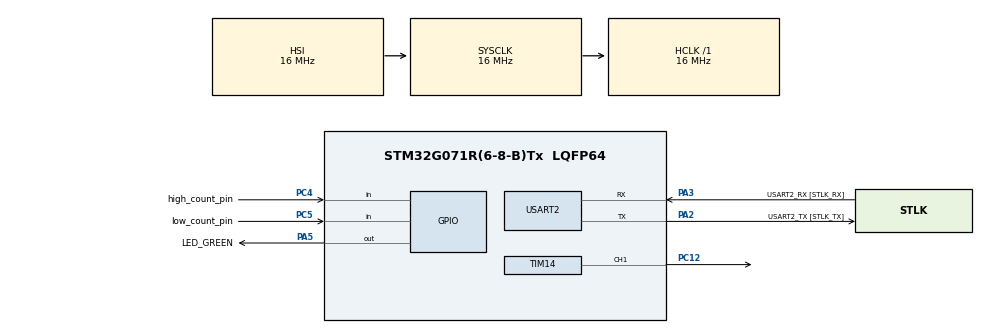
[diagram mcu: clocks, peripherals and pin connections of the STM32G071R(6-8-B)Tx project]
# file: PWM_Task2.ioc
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Mcu.Family=STM32G0
Mcu.Name=STM32G071R(6-8-B)Tx
Mcu.Package=LQFP64
NVIC.TIM14_IRQn=true\:0\:0\:false\:false\:true\:true\:true
PA13.GPIO_Label=TMS
PA13.Signal=SYS_SWDIO
PA14-BOOT0.GPIO_Label=TCK
PA14-BOOT0.Signal=SYS_SWCLK
PA2.GPIO_Label=USART2_TX [STLK_TX]
PA2.Mode=Asynchronous
PA2.Signal=USART2_TX
PA3.GPIO_Label=USART2_RX [STLK_RX]
PA3.Mode=Asynchronous
PA3.Signal=USART2_RX
PA5.GPIO_Label=LED_GREEN
PA5.GPIO_Speed=GPIO_SPEED_FREQ_HIGH
PA5.Signal=GPIO_Output
PC12.GPIO_Speed=GPIO_SPEED_FREQ_HIGH
PC12.Signal=S_TIM14_CH1
PC13.Signal=SYS_WKUP2
PC14-OSC32_IN\ (PC14).Signal=RCC_OSC32_IN
PC15-OSC32_OUT\ (PC15).Signal=RCC_OSC32_OUT
PC4.GPIO_Label=high_count_pin
PC4.Signal=GPIO_Input
PC5.GPIO_Label=low_count_pin
PC5.Signal=GPIO_Input
PF0-OSC_IN\ (PF0).GPIO_Label=MCO
PF0-OSC_IN\ (PF0).Signal=RCC_OSC_IN
ProjectManager.HeapSize=0x200
ProjectManager.StackSize=0x400
ProjectManager.TargetToolchain=STM32CubeIDE
RCC.AHBFreq_Value=16000000
RCC.CortexFreq_Value=16000000
RCC.EXTERNAL_CLOCK_VALUE=12288000
RCC.HCLKFreq_Value=16000000
RCC.HSE_VALUE=8000000
RCC.HSI_VALUE=16000000
RCC.LSE_VALUE=32768
RCC.SYSCLKFreq_VALUE=16000000
RCC.VCOOutputFreq_Value=128000000
SH.S_TIM14_CH1.0=TIM14_CH1,PWM Generation1 CH1
TIM14.AutoReloadPreload=TIM_AUTORELOAD_PRELOAD_DISABLE
TIM14.Channel=TIM_CHANNEL_1
TIM14.ClockDivision=TIM_CLOCKDIVISION_DIV1
TIM14.OC1Preload_PWM=DISABLE
TIM14.OCMode_PWM=TIM_OCMODE_PWM1
TIM14.Period=999
TIM14.Prescaler=15999
TIM14.Pulse=99
USART2.VirtualMode-Asynchronous=VM_ASYNC
VP_SYS_VS_DBSignals.Mode=DisableDeadBatterySignals
VP_TIM14_VS_ClockSourceINT.Mode=Enable_Timer
board=NUCLEO-G071RB

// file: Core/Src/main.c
/* USER CODE BEGIN Header */
/**
  ******************************************************************************
  * @file           : main.c
  * @brief          : Main program body
  ******************************************************************************
  * @attention
  *
  * <h2><center>&copy; Copyright (c) 2023 STMicroelectronics.
  * All rights reserved.</center></h2>
  *
  * This software component is licensed by ST under BSD 3-Clause license,
  * the "License"; You may not use this file except in compliance with the
  * License. You may obtain a copy of the License at:
  *                        opensource.org/licenses/BSD-3-Clause
  *
  ******************************************************************************
  */
/* USER CODE END Header */
#include "main.h"

/* USER CODE BEGIN Includes */
#include <string.h>
#include <stdio.h>
/* USER CODE END Includes */

TIM_HandleTypeDef htim14;

UART_HandleTypeDef huart2;

/* USER CODE BEGIN PV */
char msg[10];
char msg1[10];
char msg2[10];
int count1=0;
int count2=1;
//int input2;
//int input1;
int time=0;
int input=0;
/* USER CODE END PV */

void SystemClock_Config(void);
static void MX_GPIO_Init(void);
static void MX_TIM14_Init(void);
static void MX_USART2_UART_Init(void);

int main(void)
{

  /* MCU Configuration--------------------------------------------------------*/

  /* Reset of all peripherals, Initializes the Flash interface and the Systick. */
  HAL_Init();

  /* Configure the system clock */
  SystemClock_Config();

  /* Initialize all configured peripherals */
  MX_GPIO_Init();
  MX_TIM14_Init();
  MX_USART2_UART_Init();
  /* USER CODE BEGIN 2 */
  //HAL_GPIO_WritePin(GPIOA, High_count_pin_Pin, 0);
  HAL_GPIO_WritePin(LED_GREEN_GPIO_Port,LED_GREEN_Pin, 1);
  HAL_TIM_PWM_Start_IT(&htim14, TIM_CHANNEL_1);
  //void HAL_TIM_PeriodElapsedCallback(TIM_HandleTypeDef *htim14)

  sprintf(msg2,"count1=%d  count1 = %d\r\n",count1,count2);
  HAL_UART_Transmit(&huart2, (uint8_t*)msg2, strlen(msg2), HAL_MAX_DELAY);

  //HAL_TIM_PWM_Start(&htim14, TIM_CHANNEL_1);
  /* USER CODE END 2 */

  /* Infinite loop */
  /* USER CODE BEGIN WHILE */
  while (1)
  {

	  input = HAL_GPIO_ReadPin(low_count_pin_GPIO_Port, low_count_pin_Pin);
//	  sprintf(msg,"input=%d ",input);
//	  HAL_UART_Transmit(&huart2, (uint8_t*)msg, strlen(msg), HAL_MAX_DELAY);

	  sprintf(msg2,"count1=%d  count1 = %d\r\n",count1,count2);
	  HAL_UART_Transmit(&huart2, (uint8_t*)msg2, strlen(msg2), HAL_MAX_DELAY);

	  if(__HAL_TIM_GET_COUNTER(&htim14)==0)
	  {
		  count2=0;
		  count1=0;
	  }

	  if(input==1)
	  {
		  count1++;
	  }
	  if(input==0)
	  {
		  count2++;
	  }

//	  input1 = HAL_GPIO_ReadPin(high_count_pin_GPIO_Port, high_count_pin_Pin);
//	  sprintf(msg1,"input1=%d ",input1);
//	  HAL_UART_Transmit(&huart2, (uint8_t*)msg1, strlen(msg1), HAL_MAX_DELAY);
//
//	  input2 = HAL_GPIO_ReadPin(low_count_pin_GPIO_Port, low_count_pin_Pin);
//	  sprintf(msg2,"input2=%d \r\n",input2);
//	  HAL_UART_Transmit(&huart2, (uint8_t*)msg2, strlen(msg2), HAL_MAX_DELAY);

//		if(input1==1)
//		{
//			count1++;
//			sprintf(msg1,"count1=%d ",count1);
//			HAL_UART_Transmit(&huart2, (uint8_t*)msg1, strlen(msg1), HAL_MAX_DELAY);
//		}
//
//		if(input2==0)
//		{
//			count2++;
//			sprintf(msg2,"count2=%d\r\n",count2);
//			HAL_UART_Transmit(&huart2, (uint8_t*)msg2, strlen(msg2), HAL_MAX_DELAY);
//		}

    /* USER CODE END WHILE */

  }
}

void SystemClock_Config(void)
{
  RCC_OscInitTypeDef RCC_OscInitStruct = {0};
  RCC_ClkInitTypeDef RCC_ClkInitStruct = {0};
  RCC_PeriphCLKInitTypeDef PeriphClkInit = {0};

  /** Configure the main internal regulator output voltage
  */
  HAL_PWREx_ControlVoltageScaling(PWR_REGULATOR_VOLTAGE_SCALE1);
  /** Initializes the RCC Oscillators according to the specified parameters
  * in the RCC_OscInitTypeDef structure.
  */
  RCC_OscInitStruct.OscillatorType = RCC_OSCILLATORTYPE_HSI;
  RCC_OscInitStruct.HSIState = RCC_HSI_ON;
  RCC_OscInitStruct.HSIDiv = RCC_HSI_DIV1;
  RCC_OscInitStruct.HSICalibrationValue = RCC_HSICALIBRATION_DEFAULT;
  RCC_OscInitStruct.PLL.PLLState = RCC_PLL_NONE;
  if (HAL_RCC_OscConfig(&RCC_OscInitStruct) != HAL_OK)
  {
    Error_Handler();
  }
  /** Initializes the CPU, AHB and APB buses clocks
  */
  RCC_ClkInitStruct.ClockType = RCC_CLOCKTYPE_HCLK|RCC_CLOCKTYPE_SYSCLK
                              |RCC_CLOCKTYPE_PCLK1;
  RCC_ClkInitStruct.SYSCLKSource = RCC_SYSCLKSOURCE_HSI;
  RCC_ClkInitStruct.AHBCLKDivider = RCC_SYSCLK_DIV1;
  RCC_ClkInitStruct.APB1CLKDivider = RCC_HCLK_DIV1;

  if (HAL_RCC_ClockConfig(&RCC_ClkInitStruct, FLASH_LATENCY_0) != HAL_OK)
  {
    Error_Handler();
  }
  /** Initializes the peripherals clocks
  */
  PeriphClkInit.PeriphClockSelection = RCC_PERIPHCLK_USART2;
  PeriphClkInit.Usart2ClockSelection = RCC_USART2CLKSOURCE_PCLK1;
  if (HAL_RCCEx_PeriphCLKConfig(&PeriphClkInit) != HAL_OK)
  {
    Error_Handler();
  }
}

static void MX_TIM14_Init(void)
{

  TIM_OC_InitTypeDef sConfigOC = {0};

  htim14.Instance = TIM14;
  htim14.Init.Prescaler = 15999;
  htim14.Init.CounterMode = TIM_COUNTERMODE_UP;
  htim14.Init.Period = 999;
  htim14.Init.ClockDivision = TIM_CLOCKDIVISION_DIV1;
  htim14.Init.AutoReloadPreload = TIM_AUTORELOAD_PRELOAD_DISABLE;
  if (HAL_TIM_Base_Init(&htim14) != HAL_OK)
  {
    Error_Handler();
  }
  if (HAL_TIM_PWM_Init(&htim14) != HAL_OK)
  {
    Error_Handler();
  }
  sConfigOC.OCMode = TIM_OCMODE_PWM1;
  sConfigOC.Pulse = 99;
  sConfigOC.OCPolarity = TIM_OCPOLARITY_HIGH;
  sConfigOC.OCFastMode = TIM_OCFAST_DISABLE;
  if (HAL_TIM_PWM_ConfigChannel(&htim14, &sConfigOC, TIM_CHANNEL_1) != HAL_OK)
  {
    Error_Handler();
  }
  __HAL_TIM_DISABLE_OCxPRELOAD(&htim14, TIM_CHANNEL_1);
  HAL_TIM_MspPostInit(&htim14);

}

static void MX_USART2_UART_Init(void)
{

  huart2.Instance = USART2;
  huart2.Init.BaudRate = 115200;
  huart2.Init.WordLength = UART_WORDLENGTH_8B;
  huart2.Init.StopBits = UART_STOPBITS_1;
  huart2.Init.Parity = UART_PARITY_NONE;
  huart2.Init.Mode = UART_MODE_TX_RX;
  huart2.Init.HwFlowCtl = UART_HWCONTROL_NONE;
  huart2.Init.OverSampling = UART_OVERSAMPLING_16;
  huart2.Init.OneBitSampling = UART_ONE_BIT_SAMPLE_DISABLE;
  huart2.Init.ClockPrescaler = UART_PRESCALER_DIV1;
  huart2.AdvancedInit.AdvFeatureInit = UART_ADVFEATURE_NO_INIT;
  if (HAL_UART_Init(&huart2) != HAL_OK)
  {
    Error_Handler();
  }
  if (HAL_UARTEx_SetTxFifoThreshold(&huart2, UART_TXFIFO_THRESHOLD_1_8) != HAL_OK)
  {
    Error_Handler();
  }
  if (HAL_UARTEx_SetRxFifoThreshold(&huart2, UART_RXFIFO_THRESHOLD_1_8) != HAL_OK)
  {
    Error_Handler();
  }
  if (HAL_UARTEx_DisableFifoMode(&huart2) != HAL_OK)
  {
    Error_Handler();
  }

}

static void MX_GPIO_Init(void)
{
  GPIO_InitTypeDef GPIO_InitStruct = {0};

  /* GPIO Ports Clock Enable */
  __HAL_RCC_GPIOC_CLK_ENABLE();
  __HAL_RCC_GPIOF_CLK_ENABLE();
  __HAL_RCC_GPIOA_CLK_ENABLE();

  /*Configure GPIO pin Output Level */
  HAL_GPIO_WritePin(LED_GREEN_GPIO_Port, LED_GREEN_Pin, GPIO_PIN_RESET);

  /*Configure GPIO pin : LED_GREEN_Pin */
  GPIO_InitStruct.Pin = LED_GREEN_Pin;
  GPIO_InitStruct.Mode = GPIO_MODE_OUTPUT_PP;
  GPIO_InitStruct.Pull = GPIO_NOPULL;
  GPIO_InitStruct.Speed = GPIO_SPEED_FREQ_HIGH;
  HAL_GPIO_Init(LED_GREEN_GPIO_Port, &GPIO_InitStruct);

  /*Configure GPIO pins : high_count_pin_Pin low_count_pin_Pin */
  GPIO_InitStruct.Pin = high_count_pin_Pin|low_count_pin_Pin;
  GPIO_InitStruct.Mode = GPIO_MODE_INPUT;
  GPIO_InitStruct.Pull = GPIO_NOPULL;
  HAL_GPIO_Init(GPIOC, &GPIO_InitStruct);

}

/* USER CODE BEGIN 4 */
//void HAL_TIM_PeriodElapsedCallback(TIM_HandleTypeDef *htim14)
//{
//	HAL_GPIO_TogglePin(GPIOA, LED_GREEN_Pin);
//	HAL_UART_Transmit(&huart2,"Hello from callback\r\n", sizeof("Hello from callback\r\n"), HAL_MAX_DELAY);
//}
/* USER CODE END 4 */

void Error_Handler(void)
{
  __disable_irq();
  while (1)
  {
  }
}

/************************ (C) COPYRIGHT STMicroelectronics *****END OF FILE****/
